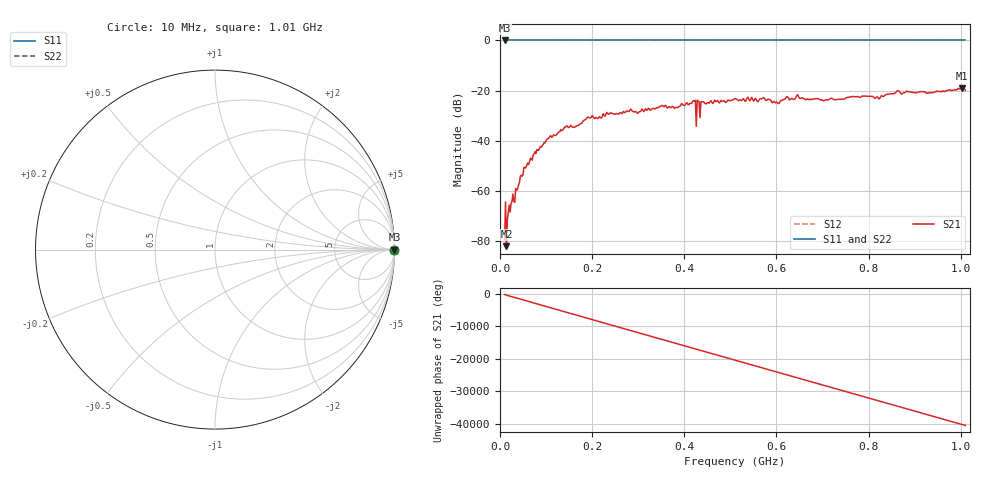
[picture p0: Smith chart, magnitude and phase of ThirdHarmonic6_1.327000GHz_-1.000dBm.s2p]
! 8/16/2025 2:48:25 PM
! C:\ANRITSUVNA\TEMP\TEMP.S2P
! CHANNEL.1
! TR.MEASUREMENT
! RAW.DATA
! RF.CORRECTION.OFF
! AVERAGING.OFF
! IF.BANDWIDTH: 5KHZ
! SWEEPTYPE:  FREQ.SWEEP(Linear)
! Reference Plane Port Info
! PORT:  PORT1  PORT2
! DISTANCE:  0  m  0  m
! TIME:  0  s  0  s
! PHASE.OFFSET:  0  deg.  0  deg.
! LOSS:  0  dB  0  dB
! REF.LOSS:  0  dB  0  dB
! REF.FREQ:  0  Hz  0  Hz
! Power Info
! POWER:  -20  dBm  -20  dBm
! EFF.POWER:  -20  dBm  -20  dBm
! SOURCE.ATTEN:  0  dB  0  dB
! TEST.ATTEN:  0  dB  0  dB
# GHZ S RI R 50.0
! FREQ.GHZ  S11RE  S11IM  S21RE  S21IM  S12RE  S12IM  S22RE  S22IM
!; PortSelection: Port_12
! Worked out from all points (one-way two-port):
!   501 points, 10 MHz to 1.01 GHz, reference 50 ohm
!   highest |S21| = -19.11 dB at 1.002 GHz (marker M1); lowest = -82.0 dB at 14 MHz (marker M2)
!   lowest |S11| = 0.0 dB at 10 MHz (marker M3)
!   |S11| at or under -10 dB: nowhere
!   |S22| runs from 0.0 to 0.0 dB; largest |S21 - S12| = 1.1
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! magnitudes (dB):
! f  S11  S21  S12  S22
! 10 MHz  0.0  -79.5  0.0  0.0
! 14 MHz  0.0  -82.0  0.0  0.0
! 24 MHz  0.0  -65.2  0.0  0.0
! 34 MHz  0.0  -59.0  0.0  0.0
! 48 MHz  0.0  -54.2  0.0  0.0
! 76 MHz  0.0  -44.4  0.0  0.0
! 106 MHz  0.0  -38.8  0.0  0.0
! 178 MHz  0.0  -32.9  0.0  0.0
! 236 MHz  0.0  -29.4  0.0  0.0
! 344 MHz  0.0  -26.8  0.0  0.0
! 382 MHz  0.0  -26.7  0.0  0.0
! 420 MHz  0.0  -24.0  0.0  0.0
! 430 MHz  0.0  -24.3  0.0  0.0
! 432 MHz  0.0  -24.4  0.0  0.0
! 440 MHz  0.0  -24.4  0.0  0.0
! 510 MHz  0.0  -23.1  0.0  0.0
! 602 MHz  0.0  -24.8  0.0  0.0
! 646 MHz  0.0  -21.6  0.0  0.0
! 678 MHz  0.0  -23.6  0.0  0.0
! 844 MHz  0.0  -21.4  0.0  0.0
! 1.002 GHz  0.0  -19.1  0.0  0.0
! 1.01 GHz  0.0  -19.9  0.0  0.0
